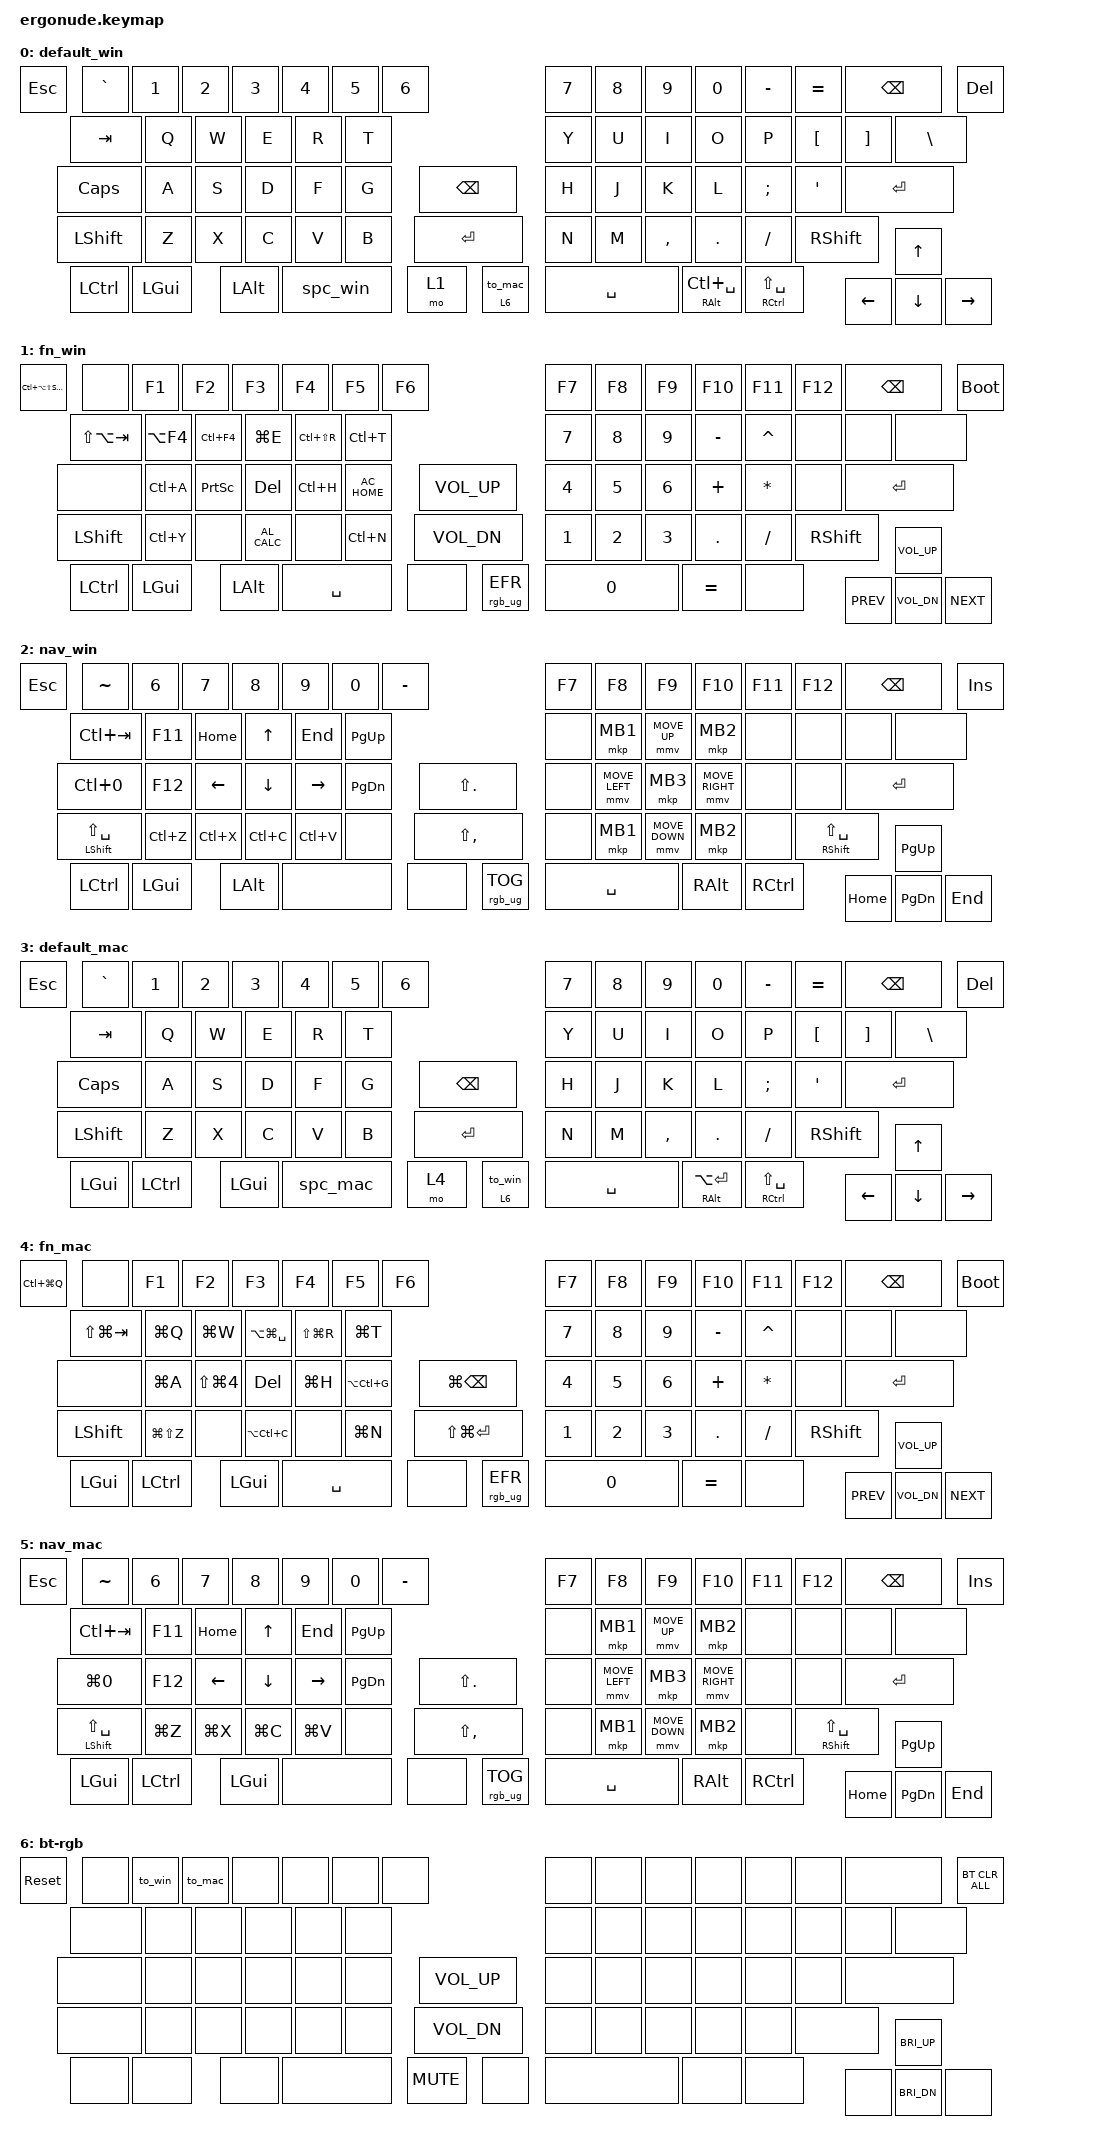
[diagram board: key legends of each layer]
#include <behaviors.dtsi>
#include <dt-bindings/zmk/bt.h>
#include <dt-bindings/zmk/keys.h>
#include <dt-bindings/zmk/rgb.h>
#include <dt-bindings/zmk/pointing.h>
#include <dt-bindings/zmk/outputs.h>

/ {
    macros {
        to_mac: to_mac-macro {
            compatible = "zmk,behavior-macro";
            #binding-cells = <0>;
            bindings = 
                <&out OUT_BLE>,
                <&bt BT_SEL 0>,
                <&rgb_ug RGB_COLOR_HSB(200,35,100)>,
                <&to 3>;
        };

        to_win: to_win-macro {
            compatible = "zmk,behavior-macro";
            #binding-cells = <0>;
            bindings =
                <&out OUT_USB>,
                <&rgb_ug RGB_COLOR_HSB(15,100,100)>,
                <&to 0>;
        };
    };

    behaviors {
        lt_nav: layer_tap_nav {
            compatible = "zmk,behavior-hold-tap";
            #binding-cells = <2>;
            flavor = "hold-preferred";
            tapping-term-ms = <0>;
            retro-tap;
            bindings = <&mo>, <&kp>;
            display-name = "Layer-Tap-nav";
        };

        lt_nav_sft: layer_tap_nav_shifted {
            compatible = "zmk,behavior-hold-tap";
            #binding-cells = <2>;
            flavor = "tap-unless-interrupted";
            tapping-term-ms = <100000>;
            bindings = <&mo>, <&kp>;
            display-name = "Layer-Tap-nav-shifted";
        };

        sft_he: shift_haneng {
            compatible = "zmk,behavior-hold-tap";
            #binding-cells = <2>;
            flavor = "tap-unless-interrupted";
            tapping-term-ms = <100000>;
            hold-while-undecided;
            hold-while-undecided-linger;
            bindings = <&kp>, <&kp>;
            display-name = "Shift-HanEng";
        };

        spc_win: space_win {
            compatible = "zmk,behavior-mod-morph";
            #binding-cells = <0>;
            bindings = <&lt_nav 2 SPACE>, <&lt_nav_sft 2 LS(SPACE)>;
            mods = <(MOD_LSFT|MOD_RSFT)>;
            keep-mods = <(MOD_LSFT|MOD_RSFT)>;
        };

        spc_mac: space_mac {
            compatible = "zmk,behavior-mod-morph";
            #binding-cells = <0>;
            bindings = <&lt_nav 5 SPACE>, <&lt_nav_sft 5 LS(SPACE)>;
            mods = <(MOD_LSFT|MOD_RSFT)>;
            keep-mods = <(MOD_LSFT|MOD_RSFT)>;
        };

        lt_mac: layer_tap_mac {
            compatible = "zmk,behavior-hold-tap";
            #binding-cells = <2>;
            flavor = "tap-preferred";
            tapping-term-ms = <200>;
            bindings = <&mo &to_mac>;
            display-name = "Layer-Tap-mac";
        };

        lt_win: layer_tap_win {
            compatible = "zmk,behavior-hold-tap";
            #binding-cells = <2>;
            flavor = "tap-preferred";
            tapping-term-ms = <200>;
            bindings = <&mo &to_win>;
            display-name = "Layer-Tap-win";
        };
    };

    keymap {
        compatible = "zmk,keymap";

        0 {
            display-name = "default_win";
            bindings = < 
&kp ESC   &kp GRAVE   &kp N1    &kp N2   &kp N3    &kp N4    &kp N5    &kp N6                 &kp N7    &kp N8   &kp N9     &kp N0    &kp MINUS    &kp EQUAL   &kp BSPC            &kp DEL
          &kp TAB     &kp Q     &kp W    &kp E     &kp R     &kp T                            &kp Y     &kp U    &kp I      &kp O     &kp P        &kp LBKT    &kp RBKT  &kp BSLH
          &kp CAPS    &kp A     &kp S    &kp D     &kp F     &kp G            &kp BSPC        &kp H     &kp J    &kp K      &kp L     &kp SEMI     &kp SQT               &kp RET
          &kp LSHFT   &kp Z     &kp X    &kp C     &kp V     &kp B            &kp RET         &kp N     &kp M    &kp COMMA  &kp DOT   &kp FSLH     &kp RSHFT             &kp UP 
          &kp LCTRL   &kp LGUI           &kp LALT            &spc_win     &mo 1  &lt_mac 6 0            &kp SPACE  &mt RALT LC(SPACE) &mt RCTRL LS(SPACE)      &kp LEFT  &kp DOWN  &kp RIGHT
            >; 
        };

        1 {
            display-name = "fn_win";
            bindings = <
&kp LC(LA(LS(SLCK))) &none &kp F1 &kp F2   &kp F3     &kp F4      &kp F5   &kp F6              &kp F7    &kp F8   &kp F9     &kp F10   &kp F11      &kp F12  &kp BSPC              &bootloader
     &kp LS(LA(TAB))  &kp LA(F4) &kp LC(F4) &kp LG(E) &kp LC(LS(R)) &kp LC(T)                  &kp N7    &kp N8   &kp N9     &kp MINUS &kp CARET    &none    &none    &none
          &none       &kp LC(A) &kp PSCRN  &kp DEL    &kp LC(H)   &kp C_AC_HOME &kp C_VOL_UP   &kp N4    &kp N5   &kp N6     &kp PLUS  &kp ASTERISK &none             &kp RET
          &kp LSHFT   &kp LC(Y) &none &kp C_AL_CALC   &none       &kp LC(N)     &kp C_VOL_DN   &kp N1    &kp N2   &kp N3     &kp DOT   &kp FSLH     &kp RSHFT         &kp C_VOL_UP 
          &kp LCTRL   &kp LGUI           &kp LALT           &kp SPACE     &none    &rgb_ug RGB_EFR      &kp N0         &kp EQUAL &none                    &kp C_PREV &kp C_VOL_DN &kp C_NEXT
            >; 
        };

        2 {
            display-name = "nav_win";
            bindings = <
&kp ESC   &kp TILDE   &kp N6    &kp N7    &kp N8    &kp N9     &kp N0  &kp MINUS            &kp F7    &kp F8   &kp F9       &kp F10        &kp F11    &kp F12   &kp BSPC           &kp INS
          &kp LC(TAB) &kp F11   &kp HOME  &kp UP    &kp END    &kp PG_UP                    &none     &mkp MB1 &mmv MOVE_UP &mkp MB2       &none      &none     &none   &none
          &kp LC(N0)  &kp F12   &kp LEFT  &kp DOWN  &kp RIGHT  &kp PG_DN      &kp LS(DOT)   &none  &mmv MOVE_LEFT &mkp MB3 &mmv MOVE_RIGHT &none      &none             &kp RET
&sft_he LSHFT LS(SPACE) &kp LC(Z) &kp LC(X) &kp LC(C) &kp LC(V)  &none        &kp LS(COMMA)  &none     &mkp MB1 &mmv MOVE_DOWN &mkp MB2    &none &sft_he RSHFT LS(SPACE) &kp PG_UP 
          &kp LCTRL   &kp LGUI           &kp LALT          &none          &none  &rgb_ug RGB_TOG     &kp SPACE         &kp RALT  &kp RCTRL                    &kp HOME  &kp PG_DN  &kp END
            >;
        };

        3 {
            display-name = "default_mac";
            bindings = < 
&kp ESC   &kp GRAVE   &kp N1    &kp N2   &kp N3    &kp N4    &kp N5    &kp N6                 &kp N7    &kp N8   &kp N9     &kp N0    &kp MINUS    &kp EQUAL   &kp BSPC            &kp DEL
          &kp TAB     &kp Q     &kp W    &kp E     &kp R     &kp T                            &kp Y     &kp U    &kp I      &kp O     &kp P        &kp LBKT    &kp RBKT  &kp BSLH
          &kp CAPS    &kp A     &kp S    &kp D     &kp F     &kp G            &kp BSPC        &kp H     &kp J    &kp K      &kp L     &kp SEMI     &kp SQT               &kp RET
          &kp LSHFT   &kp Z     &kp X    &kp C     &kp V     &kp B            &kp RET         &kp N     &kp M    &kp COMMA  &kp DOT   &kp FSLH     &kp RSHFT             &kp UP 
          &kp LGUI   &kp LCTRL           &kp LGUI            &spc_mac     &mo 4    &lt_win 6 0          &kp SPACE  &mt RALT LA(RET) &mt RCTRL LS(SPACE)        &kp LEFT  &kp DOWN  &kp RIGHT
            >; 
        }; 

        4 {
            display-name = "fn_mac";
            bindings = <
&kp LC(LG(Q)) &none  &kp F1    &kp F2     &kp F3         &kp F4    &kp F5     &kp F6                     &kp F7   &kp F8   &kp F9     &kp F10   &kp F11      &kp F12     &kp BSPC               &bootloader
     &kp LS(LG(TAB)) &kp LG(Q) &kp LG(W)  &kp LA(LG(SPACE)) &kp LS(LG(R)) &kp LG(T)                      &kp N7   &kp N8   &kp N9     &kp MINUS &kp CARET    &none       &none      &none
          &none   &kp LG(A) &kp LS(LG(N4)) &kp DEL       &kp LG(H) &kp LA(LC(G))       &kp LG(BSPC)      &kp N4   &kp N5   &kp N6     &kp PLUS  &kp ASTERISK &none                  &kp RET
          &kp LSHFT  &kp LG(LS(Z)) &none  &kp LA(LC(C)) &none &kp LG(N)      &kp LS(LG(RET))     &kp N1  &kp N2   &kp N3     &kp DOT   &kp FSLH     &kp RSHFT              &kp C_VOL_UP 
          &kp LGUI   &kp LCTRL          &kp LGUI           &kp SPACE        &none    &rgb_ug RGB_EFR     &kp N0            &kp EQUAL &none                      &kp C_PREV &kp C_VOL_DN &kp C_NEXT
            >; 
        };

        5 {
            display-name = "nav_mac";
            bindings = <
&kp ESC   &kp TILDE   &kp N6    &kp N7    &kp N8    &kp N9     &kp N0  &kp MINUS           &kp F7    &kp F8   &kp F9     &kp F10   &kp F11      &kp F12     &kp BSPC            &kp INS
          &kp LC(TAB) &kp F11   &kp HOME  &kp UP    &kp END    &kp PG_UP                   &none     &mkp MB1 &mmv MOVE_UP &mkp MB2 &none       &none       &none     &none
          &kp LG(N0)  &kp F12   &kp LEFT  &kp DOWN  &kp RIGHT  &kp PG_DN    &kp LS(DOT)    &none  &mmv MOVE_LEFT &mkp MB3 &mmv MOVE_RIGHT &none       &none           &kp RET
&sft_he LSHFT LS(SPACE) &kp LG(Z) &kp LG(X) &kp LG(C) &kp LG(V)  &none      &kp LS(COMMA)  &none     &mkp MB1 &mmv MOVE_DOWN &mkp MB2   &none &sft_he RSHFT LS(SPACE) &kp PG_UP 
          &kp LGUI    &kp LCTRL           &kp LGUI            &none     &none  &rgb_ug RGB_TOG       &kp SPACE           &kp RALT  &kp RCTRL                &kp HOME  &kp PG_DN  &kp END
            >;
        };

        6 {
            display-name = "bt-rgb";
            bindings = <
&sys_reset  &none    &to_win  &to_mac   &none    &none  &none   &none                    &none     &none    &none      &none     &none      &none       &none          &bt BT_CLR_ALL
            &none    &none    &none     &none    &none  &none                            &none     &none    &none      &none     &none      &none       &none     &none
            &none    &none    &none     &none    &none  &none         &kp C_VOL_UP       &none     &none    &none      &none     &none      &none                 &none
            &none    &none    &none     &none    &none  &none         &kp C_VOL_DN       &none     &none    &none      &none     &none      &none                 &kp C_BRI_UP 
            &none    &none              &none      &none           &kp C_MUTE     &none            &none               &none     &none                      &none &kp C_BRI_DN &none
            >;
        };        
    };
};
